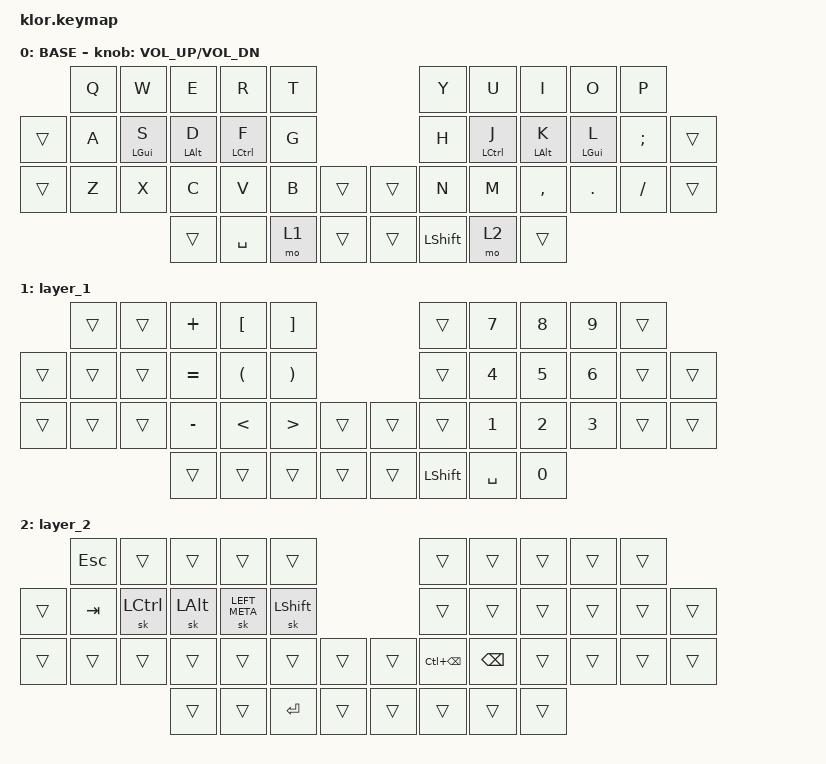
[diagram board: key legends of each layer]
//                               █         █    █            ▄▄▄▀▀▀▀▀▀▄▄▄        █▀▀▀▀▀▀▀▀▀▀█
//                               █        █     █          ▄▀            ▀▄      █          █
//                               █       █      █        ▄▀                ▀▄    █          █
//                               █      █       █        █                  █    █          █
//                               █     █        █       █                    █   █          █
//                               █    █         █       █                    █   █▄▄▄▄▄▄▄▄▄▄█
//                               █   █ █        █       █                    █   █      █
//                               █  █   █       █        █                  █    █       █
//                               █ █     █      █        ▀▄                ▄▀    █        █
//                               ██       █     █          ▀▄            ▄▀      █         █
//                               █         █    █▄▄▄▄▄▄▄▄    ▀▀▀▄▄▄▄▄▄▀▀▀        █          █
//
// ▄▄▄▄▄▄▄▄▄▄▄▄▄▄▄▄▄▄▄▄▄▄▄▄▄▄▄▄▄▄▄▄▄▄▄▄▄▄▄▄▄▄▄▄▄▄▄▄▄▄▄▄▄▄▄▄▄▄▄▄▄▄▄▄▄▄▄▄▄▄▄▄▄▄▄▄▄▄▄▄▄▄▄▄▄▄▄▄▄▄▄▄▄▄▄▄▄▄▄▄▄▄▄▄▄▄▄▄▄▄▄▄▄▄▄▄▄▄▄▄▄▄▄▄▄

#include <behaviors.dtsi>
#include <dt-bindings/zmk/keys.h>

#define BASE   0
#define LOWER  1
#define RAISE  2
#define ADJUST 3

&sk { release-after-ms = <3000>; };

/ {
    behaviors {
        hm: homerow_mods {
            compatible = "zmk,behavior-hold-tap";
            label = "HOMEROW_MODS";
            #binding-cells = <2>;
            tapping-term-ms = <150>;
            quick_tap_ms = <0>;
            flavor = "tap-preferred";
            bindings = <&kp>, <&kp>;
        };
    };

    combos {
        compatible = "zmk,combos";

        easy_boot {
            bindings = <&bootloader>;
            key-positions = <36 37 38 23>;
        };
    };

    keymap {
        compatible = "zmk,keymap";

        // ▄▄▄▄▄▄▄▄▄▄▄▄▄▄▄▄▄▄▄▄▄▄▄▄▄▄▄▄▄▄▄▄▄▄▄▄▄▄▄▄▄▄▄▄▄▄▄▄▄▄▄▄▄▄▄▄▄▄▄▄▄▄▄▄▄▄▄▄▄▄▄▄▄▄▄▄▄▄▄▄▄▄▄▄▄▄▄▄▄▄▄▄▄▄▄▄▄▄▄▄▄▄▄▄▄▄▄▄▄▄▄▄▄▄▄▄▄▄▄▄▄▄▄▄▄▄▄▄▄▄▄▄▄▄▄▄▄▄▄▄▄▄

        home {
            // ┌───────────────────────────────────────────────────────────┐

            label = "BASE";

            // └───────────────────────────────────────────────────────────┘
            /*           ┌─────────┬─────────┬─────────┬─────────┬─────────┐                    ┌─────────┬─────────┬─────────┬─────────┬─────────┐
             │    Q    │    W    │    F    │    P    │    G    │                    │    J    │    L    │    U    │    Y    │    ;    │   
   ┌─────────┼─────────┼─────────┼─────────┼─────────┼─────────┤                    ├─────────┼─────────┼─────────┼─────────┼─────────┼─────────┐
   │   TAB   │    A    │    R    │    S    │    T    │    D    │                    │    H    │    N    │    E    │    I    │    O    │    "    │
   ├─────────┼─────────┼─────────┼─────────┼─────────┼─────────┤╭────────╮╭────────╮├─────────┼─────────┼─────────┼─────────┼─────────┼─────────┤
   │   DEL   │    Z    │    X    │    C    │    V    │    B    ││  MUTE  ││PLY/PSE ││    K    │    M    │    ,    │    .    │    /    │    \    │
   └─────────┴─────────┴─────────┼─────────┼─────────┼─────────┼╰────────╯╰────────╯┼─────────┼─────────┼─────────┼─────────┴─────────┴─────────┘
                                 │  CTRL   │  LOWER  │  SPACE  │   ALT   ││ CMD/WIN │  ENTER  │  RAISE  │  BSPCE  │  
                                 └─────────┴─────────┴─────────┴─────────┘└─────────┴─────────┴─────────┴─────────┘ */

            bindings = <
        &kp Q  &kp W       &kp E           &kp R               &kp T                  &kp Y           &kp U               &kp I           &kp O       &kp P
&trans  &kp A  &hm LGUI S  &hm LEFT_ALT D  &hm LEFT_CONTROL F  &kp G                  &kp H           &hm LEFT_CONTROL J  &hm LEFT_ALT K  &hm LGUI L  &kp SEMICOLON  &trans
&trans  &kp Z  &kp X       &kp C           &kp V               &kp B  &trans  &trans  &kp N           &kp M               &kp COMMA       &kp DOT     &kp FSLH       &trans
                           &trans          &kp SPACE           &mo 1  &trans  &trans  &kp LEFT_SHIFT  &mo 2               &trans
            >;

            sensor-bindings = <&inc_dec_kp C_VOL_UP C_VOL_DN>;
        };

        // ▄▄▄▄▄▄▄▄▄▄▄▄▄▄▄▄▄▄▄▄▄▄▄▄▄▄▄▄▄▄▄▄▄▄▄▄▄▄▄▄▄▄▄▄▄▄▄▄▄▄▄▄▄▄▄▄▄▄▄▄▄▄▄▄▄▄▄▄▄▄▄▄▄▄▄▄▄▄▄▄▄▄▄▄▄▄▄▄▄▄▄▄▄▄▄▄▄▄▄▄▄▄▄▄▄▄▄▄▄▄▄▄▄▄▄▄▄▄▄▄▄▄▄▄▄▄▄▄▄▄▄▄▄▄▄▄▄▄▄▄▄▄
        // ▄▄▄▄▄▄▄▄▄▄▄▄▄▄▄▄▄▄▄▄▄▄▄▄▄▄▄▄▄▄▄▄▄▄▄▄▄▄▄▄▄▄▄▄▄▄▄▄▄▄▄▄▄▄▄▄▄▄▄▄▄▄▄▄▄▄▄▄▄▄▄▄▄▄▄▄▄▄▄▄▄▄▄▄▄▄▄▄▄▄▄▄▄▄▄▄▄▄▄▄▄▄▄▄▄▄▄▄▄▄▄▄▄▄▄▄▄▄▄▄▄▄▄▄▄

        layer_1 {
            bindings = <
        &trans  &trans  &kp PLUS   &kp LEFT_BRACKET      &kp RIGHT_BRACKET                      &trans          &kp N7     &kp N8  &kp N9  &trans
&trans  &trans  &trans  &kp EQUAL  &kp LEFT_PARENTHESIS  &kp RIGHT_PARENTHESIS                  &trans          &kp N4     &kp N5  &kp N6  &trans  &trans
&trans  &trans  &trans  &kp MINUS  &kp LESS_THAN         &kp GREATER_THAN       &trans  &trans  &trans          &kp N1     &kp N2  &kp N3  &trans  &trans
                        &trans     &trans                &trans                 &trans  &trans  &kp LEFT_SHIFT  &kp SPACE  &kp N0
            >;
        };

        layer_2 {
            bindings = <
        &kp ESCAPE  &trans            &trans        &trans         &trans                          &trans             &trans         &trans  &trans  &trans
&trans  &kp TAB     &sk LEFT_CONTROL  &sk LEFT_ALT  &sk LEFT_META  &sk LEFT_SHIFT                  &trans             &trans         &trans  &trans  &trans  &trans
&trans  &trans      &trans            &trans        &trans         &trans          &trans  &trans  &kp LC(BACKSPACE)  &kp BACKSPACE  &trans  &trans  &trans  &trans
                                      &trans        &trans         &kp ENTER       &trans  &trans  &trans             &trans         &trans
            >;
        };

        // ▄▄▄▄▄▄▄▄▄▄▄▄▄▄▄▄▄▄▄▄▄▄▄▄▄▄▄▄▄▄▄▄▄▄▄▄▄▄▄▄▄▄▄▄▄▄▄▄▄▄▄▄▄▄▄▄▄▄▄▄▄▄▄▄▄▄▄▄▄▄▄▄▄▄▄▄▄▄▄▄▄▄▄▄▄▄▄▄▄▄▄▄▄▄▄▄▄▄▄▄▄▄▄▄▄▄▄▄▄▄▄▄▄▄▄▄▄▄▄▄▄▄▄▄▄
    };

    conditional_layers { compatible = "zmk,conditional-layers"; };
};
